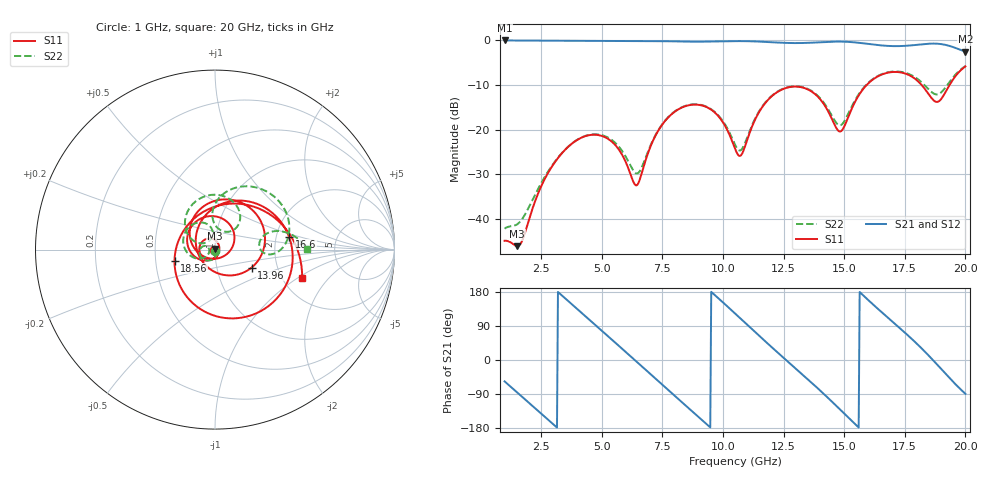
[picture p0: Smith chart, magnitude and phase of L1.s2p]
! Touchstone file from project TestMultiLine
! Exported from HFSS 14.0.0
! Variables:
!  gap = 3.5mm
!  hair = 35mm
!  hsub = 0.762mm
!  l = 31.5mm
!  lair = 50mm
!  lmic = 14mm
!  w = 25mm
!  wair = 40mm
!  wmic = 2.1mm
!  wp = 1mm
!Data is not renormalized
# GHZ S MA
! Modal data exported
! Port[1] = 1:1
! Port[2] = 2:1
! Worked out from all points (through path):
!   476 points, 1 GHz to 20 GHz, reference per port
!   highest |S21| = -0.03 dB at 1 GHz (marker M1); lowest = -2.5 dB at 20 GHz (marker M2)
!   group delay of S21, straight-line fit = 161 ps
!   lowest |S11| = -46.1 dB at 1.52 GHz (marker M3), VSWR 1.01
!   |S11| at or under -10 dB: start of sweep to 15.93 GHz; 18.19 GHz to 19.35 GHz (1.155 GHz wide, 6.16 % of centre)
!   |S22| runs from -42.2 to -5.8 dB; largest |S21 - S12| = 3.4e-11
!   S11 on the Smith chart (normalised r, x): 1 GHz: 0.99, +0.00; 13.96 GHz: 1.47, -0.31; 16.6 GHz: 2.35, +0.41; 18.56 GHz: 0.63, -0.08; 20 GHz: 2.56, -1.08
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1  0.005669 174.6  0.9964 -56.4  0.9964 -56.4  0.007755 -90.9
1.52  0.004934 105.3  0.9946 -85.8  0.9946 -85.8  0.008688 -91.9
2.96  0.03882 -73.7  0.9897 -166.9  0.9897 -166.9  0.03962 -88.7
4.2  0.08186 -154.9  0.9864 123.0  0.9864 123.0  0.08233 -138.4
5.04  0.0842 149.3  0.9844 75.4  0.9844 75.4  0.08606 -175.4
6  0.04292 72.2  0.9839 20.9  0.9839 20.9  0.04939 158.4
6.48  0.02417 -25.9  0.9842 -6.5  0.9842 -6.5  0.03223 -171.2
7.36  0.09973 -145.9  0.981 -57.1  0.981 -57.1  0.1008 -149.6
8.2  0.1706 154.4  0.9703 -105.1  0.9703 -105.1  0.1719 175.5
9.16  0.1855 90.0  0.9661 -159.6  0.9661 -159.6  0.1874 131.6
10.52  0.05929 -40.5  0.9794 121.8  0.9794 121.8  0.06618 107.2
11.32  0.1278 168.6  0.9724 74.4  0.9724 74.4  0.1313 157.3
12.24  0.2628 96.2  0.9444 20.8  0.9444 20.8  0.2652 124.3
13.68  0.2644 -3.9  0.9414 -61.1  0.9414 -61.1  0.2682 62.3
13.96  0.2269 -26.3  0.9501 -77.5  0.9501 -77.5  0.232 52.7
15.36  0.1823 112.8  0.9527 -163.4  0.9527 -163.4  0.1919 94.4
16.6  0.4183 9.9  0.8735 123.2  0.8735 123.2  0.4226 53.5
16.84  0.4358 -6.9  0.8647 109.7  0.8647 109.7  0.4404 43.6
17.76  0.3967 -75.0  0.8773 57.3  0.8773 57.3  0.4088 8.4
18.56  0.2336 -164.9  0.9179 6.8  0.9179 6.8  0.27 -3.6
19.24  0.281 65.9  0.881 -40.4  0.881 -40.4  0.312 17.5
20  0.5102 -17.8  0.7457 -89.2  0.7457 -89.2  0.5145 0.4
